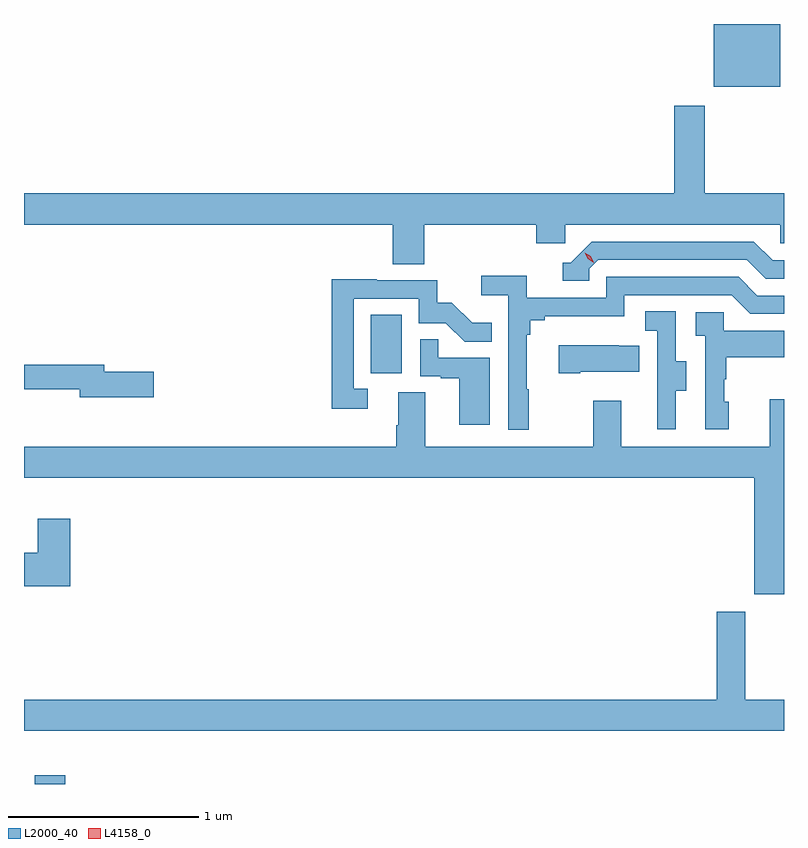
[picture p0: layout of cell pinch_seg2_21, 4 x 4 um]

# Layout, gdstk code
import gdstk
lib = gdstk.Library(unit=1e-6, precision=1e-09)
def R(c, l, rs):  # rectangles x0, y0, x1, y1
    for r in rs: c.add(gdstk.rectangle(r[:2], r[2:], *l))
def P(c, l, *ps):  # polygons
    for p in ps: c.add(gdstk.Polygon(p, *l))
L2000_40 = (2000, 40)
L4158_0 = (4158, 0)

pinch_seg2_21 = lib.new_cell('pinch_seg2_21')
R(pinch_seg2_21, L2000_40, [(1095.731,652.684,1095.892,652.729), (1097.498,654.846,1097.662,655.153), (1099.304,656.354,1099.654,656.684)])
P(pinch_seg2_21, L2000_40, [(1097.78,655.628),(1098.371,655.628),(1098.371,655.53),(1098.522,655.53),(1098.522,655.628),(1099.653,655.628),(1099.653,655.53),(1099.674,655.53),(1099.674,655.792),(1099.257,655.792),(1099.257,656.254),(1099.097,656.254),(1099.097,655.792),(1095.674,655.792),(1095.674,655.628),(1097.615,655.628),(1097.615,655.42),(1097.78,655.42)],
  [(1098.648,655.395),(1098.696,655.443),(1099.479,655.443),(1099.578,655.344),(1099.674,655.344),(1099.674,655.44),(1099.615,655.44),(1099.516,655.539),(1098.663,655.539),(1098.552,655.428),(1098.509,655.428),(1098.509,655.332),(1098.648,655.332)],
  [(1098.331,654.761),(1098.319,654.761),(1098.319,655.049),(1098.338,655.049),(1098.338,655.126),(1098.415,655.126),(1098.415,655.145),(1098.834,655.145),(1098.834,655.257),(1099.398,655.257),(1099.497,655.158),(1099.674,655.158),(1099.674,655.254),(1099.534,655.254),(1099.435,655.353),(1098.738,655.353),(1098.738,655.242),(1098.32,655.242),(1098.32,655.358),(1098.081,655.358),(1098.081,655.256),(1098.222,655.256),(1098.222,654.549),(1098.331,654.549)],
  [(1097.482,654.765),(1097.409,654.765),(1097.409,655.239),(1097.751,655.239),(1097.751,655.11),(1097.895,655.11),(1097.993,655.012),(1098.137,655.012),(1098.137,655.111),(1098.033,655.111),(1097.926,655.218),(1097.85,655.218),(1097.85,655.335),(1097.531,655.335),(1097.531,655.34),(1097.293,655.34),(1097.293,654.66),(1097.482,654.66)],
  [(1099.105,654.754),(1099.159,654.754),(1099.159,654.909),(1099.104,654.909),(1099.104,655.172),(1098.945,655.172),(1098.945,655.069),(1099.008,655.069),(1099.008,654.765),(1099.007,654.765),(1099.007,654.552),(1099.105,654.552)],
  [(1099.384,654.696),(1099.359,654.696),(1099.359,654.815),(1099.369,654.815),(1099.369,654.929),(1099.674,654.929),(1099.674,655.069),(1099.356,655.069),(1099.356,655.167),(1099.209,655.167),(1099.209,655.043),(1099.26,655.043),(1099.26,654.552),(1099.384,654.552)],
  [(1098.124,654.927),(1097.855,654.927),(1097.855,655.025),(1097.76,655.025),(1097.76,654.831),(1097.867,654.831),(1097.867,654.819),(1097.966,654.819),(1097.966,654.576),(1098.124,654.576)],
  [(1098.601,654.854),(1098.911,654.854),(1098.911,654.991),(1098.803,654.991),(1098.803,654.994),(1098.489,654.994),(1098.489,654.847),(1098.601,654.847)],
  [(1096.357,654.854),(1096.096,654.854),(1096.096,654.89),(1095.674,654.89),(1095.674,654.762),(1095.968,654.762),(1095.968,654.719),(1096.357,654.719)],
  [(1099.674,654.709),(1099.598,654.709),(1099.598,654.46),(1098.817,654.46),(1098.817,654.7),(1098.67,654.7),(1098.67,654.46),(1097.785,654.46),(1097.785,654.746),(1097.645,654.746),(1097.645,654.572),(1097.633,654.572),(1097.633,654.46),(1095.674,654.46),(1095.674,654.296),(1099.517,654.296),(1099.517,653.682),(1099.674,653.682)],
  [(1095.917,654.079),(1095.746,654.079),(1095.746,653.902),(1095.674,653.902),(1095.674,653.726),(1095.917,653.726)],
  [(1099.674,653.128),(1099.471,653.128),(1099.471,653.59),(1099.319,653.59),(1099.319,653.128),(1095.674,653.128),(1095.674,652.964),(1099.674,652.964)])
P(pinch_seg2_21, L4158_0, [(1098.672,655.428),(1098.641,655.448),(1098.625,655.481),(1098.625,655.481),(1098.625,655.481),(1098.656,655.462),(1098.672,655.429),(1098.672,655.428)])

lib.write_gds('pinch_seg2_21.gds')
